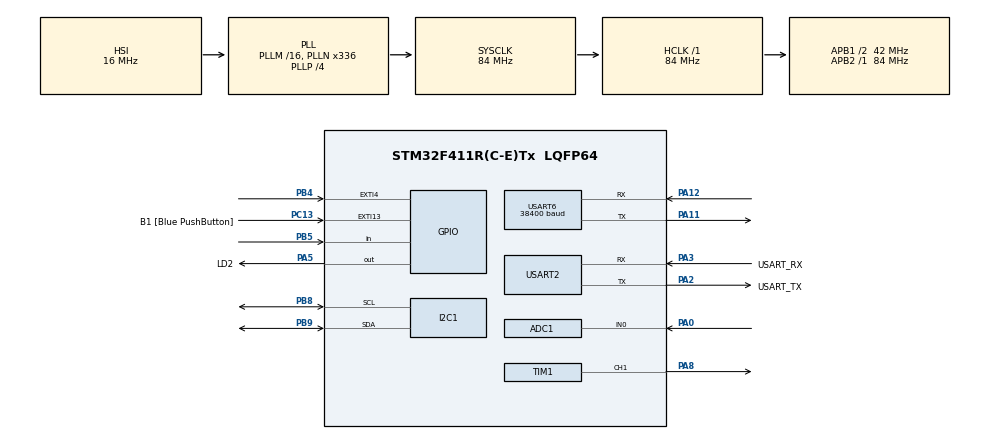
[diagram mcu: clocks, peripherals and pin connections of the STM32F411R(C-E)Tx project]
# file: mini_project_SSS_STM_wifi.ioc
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ADC1.Channel-0\#ChannelRegularConversion=ADC_CHANNEL_0
ADC1.NbrOfConversionFlag=1
ADC1.Rank-0\#ChannelRegularConversion=1
ADC1.SamplingTime-0\#ChannelRegularConversion=ADC_SAMPLETIME_3CYCLES
ADC1.master=1
Mcu.Family=STM32F4
Mcu.Name=STM32F411R(C-E)Tx
Mcu.Package=LQFP64
NVIC.ADC_IRQn=true\:0\:0\:false\:false\:true\:true\:true\:true
NVIC.EXTI4_IRQn=true\:0\:0\:false\:false\:true\:true\:true\:true
NVIC.PriorityGroup=NVIC_PRIORITYGROUP_0
NVIC.TIM2_IRQn=true\:0\:0\:false\:false\:true\:true\:true\:true
NVIC.TIM3_IRQn=true\:0\:0\:false\:false\:true\:true\:true\:true
NVIC.USART2_IRQn=true\:0\:0\:false\:false\:true\:true\:true\:true
NVIC.USART6_IRQn=true\:0\:0\:false\:false\:true\:true\:true\:true
PA0-WKUP.Signal=ADCx_IN0
PA11.Mode=Asynchronous
PA11.Signal=USART6_TX
PA12.Mode=Asynchronous
PA12.Signal=USART6_RX
PA13.GPIO_Label=TMS
PA13.Mode=Serial_Wire
PA13.Signal=SYS_JTMS-SWDIO
PA14.GPIO_Label=TCK
PA14.Mode=Serial_Wire
PA14.Signal=SYS_JTCK-SWCLK
PA2.GPIO_Label=USART_TX
PA2.Mode=Asynchronous
PA2.Signal=USART2_TX
PA3.GPIO_Label=USART_RX
PA3.Mode=Asynchronous
PA3.Signal=USART2_RX
PA5.GPIO_Label=LD2
PA5.Signal=GPIO_Output
PA8.Signal=S_TIM1_CH1
PB3.GPIO_Label=SWO
PB3.Signal=SYS_JTDO-SWO
PB4.GPIO_ModeDefaultEXTI=GPIO_MODE_IT_FALLING
PB4.GPIO_PuPd=GPIO_PULLUP
PB4.Signal=GPXTI4
PB5.GPIO_PuPd=GPIO_PULLUP
PB5.Signal=GPIO_Input
PB8.Mode=I2C
PB8.Signal=I2C1_SCL
PB9.Mode=I2C
PB9.Signal=I2C1_SDA
PC13-ANTI_TAMP.GPIO_Label=B1 [Blue PushButton]
PC13-ANTI_TAMP.GPIO_ModeDefaultEXTI=GPIO_MODE_IT_FALLING
PC13-ANTI_TAMP.Signal=GPXTI13
PC14-OSC32_IN.Mode=LSE-External-Oscillator
PC14-OSC32_IN.Signal=RCC_OSC32_IN
PC15-OSC32_OUT.Mode=LSE-External-Oscillator
PC15-OSC32_OUT.Signal=RCC_OSC32_OUT
PH0\ -\ OSC_IN.Mode=HSE-External-Clock-Source
PH0\ -\ OSC_IN.Signal=RCC_OSC_IN
PH1\ -\ OSC_OUT.Mode=HSE-External-Clock-Source
PH1\ -\ OSC_OUT.Signal=RCC_OSC_OUT
ProjectManager.HeapSize=0x200
ProjectManager.StackSize=0x400
ProjectManager.TargetToolchain=STM32CubeIDE
RCC.48MHZClocksFreq_Value=84000000
RCC.AHBFreq_Value=84000000
RCC.APB1CLKDivider=RCC_HCLK_DIV2
RCC.APB1Freq_Value=42000000
RCC.APB1TimFreq_Value=84000000
RCC.APB2Freq_Value=84000000
RCC.APB2TimFreq_Value=84000000
RCC.CortexFreq_Value=84000000
RCC.FLatency-AdvancedSettings=FLASH_LATENCY_2
RCC.HCLKFreq_Value=84000000
RCC.HSE_VALUE=8000000
RCC.HSI_VALUE=16000000
RCC.PLLN=336
RCC.PLLP=RCC_PLLP_DIV4
RCC.SYSCLKFreq_VALUE=84000000
RCC.SYSCLKSource=RCC_SYSCLKSOURCE_PLLCLK
RCC.VCOOutputFreq_Value=336000000
SH.ADCx_IN0.0=ADC1_IN0,IN0
SH.S_TIM1_CH1.0=TIM1_CH1,PWM Generation1 CH1
TIM1.Channel-PWM\ Generation1\ CH1=TIM_CHANNEL_1
TIM1.Period=19999
TIM1.Prescaler=83
TIM2.Period=99
TIM2.Prescaler=8399
TIM3.Period=999
TIM3.Prescaler=83
USART2.VirtualMode=VM_ASYNC
USART6.BaudRate=38400
USART6.VirtualMode=VM_ASYNC
VP_TIM1_VS_ClockSourceINT.Mode=Internal
VP_TIM2_VS_ClockSourceINT.Mode=Internal
VP_TIM3_VS_ClockSourceINT.Mode=Internal
board=NUCLEO-F411RE

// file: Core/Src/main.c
/* USER CODE BEGIN Header */
/**
  ******************************************************************************
  * @file           : main.c
  * @brief          : Main program body
  ******************************************************************************
  * @attention
  *
  * Copyright (c) 2025 STMicroelectronics.
  * All rights reserved.
  *
  * This software is licensed under terms that can be found in the LICENSE file
  * in the root directory of this software component.
  * If no LICENSE file comes with this software, it is provided AS-IS.
  *
  ******************************************************************************
  */
/* USER CODE END Header */
#include "main.h"

/* USER CODE BEGIN Includes */
#include <stdio.h>
#include <string.h>
#include "esp.h"
#include "my_lcd_i2c.h"
/* USER CODE END Includes */

/* USER CODE BEGIN PD */
#define PASSWORD_LEN 4

// LCD SCL, SDA GPIO 설정
#define TACT_Pin1 GPIO_PIN_4
#define TACT_GPIO_Port1 GPIOB
#define Ball_SW_PIN GPIO_PIN_5
#define Ball_SW_PORT GPIOB

#ifdef __GNUC__
/* With GCC, small printf (option LD Linker->Libraries->Small printf
   set to 'Yes') calls __io_putchar() */
#define PUTCHAR_PROTOTYPE int __io_putchar(int ch)
#else
#define PUTCHAR_PROTOTYPE int fputc(int ch, FILE *f)
#endif /* __GNUC__ */
#define ARR_CNT 5
#define CMD_SIZE 50

#define SQL_TOPIC "SSS_SQL"
#define SAFE_ID   "02"    		 	// 금고 고유 ID
#define TAG_LOGIN "LOGIN"
#define TAG_CHPSW "CHPSWD"        	// 비밀번호 변경
#define TAG_BSWLOCK "SENDLOG"

/* USER CODE END PD */

ADC_HandleTypeDef hadc1;

I2C_HandleTypeDef hi2c1;

TIM_HandleTypeDef htim1;
TIM_HandleTypeDef htim2;
TIM_HandleTypeDef htim3;

UART_HandleTypeDef huart2;
UART_HandleTypeDef huart6;

/* USER CODE BEGIN PV */
//int password[PASSWORD_LEN] = { 0, 0, 0, 0 };
int insert_num[PASSWORD_LEN] = { -1, -1, -1, -1 };

uint32_t last_ball_tick = 0;

volatile uint16_t adc_val;
volatile int      adc_flag = 0;

int flag_locked = 1;		// 금고 잠금 상태 플래그

#define LONG_PRESS_MS 1500   // 원하는 임계값

volatile uint8_t  waiting_release = 0;  // 눌림 이후 릴리즈 대기
volatile uint32_t press_tick = 0;       // 눌린 시각(ms)
volatile uint8_t  short_press_flag = 0; // 짧게 눌림 이벤트
volatile uint8_t  long_press_flag  = 0; // 길게 눌림 이벤트

uint8_t rx2char;
extern cb_data_t cb_data;
extern volatile unsigned char rx2Flag;
extern volatile char rx2Data[50];
volatile int tim3Flag1Sec=1;
volatile unsigned int tim3Sec;

static uint32_t last_adc_tick = 0;
typedef enum { ADC_IDLE, ADC_BUSY } adc_state_t;
static adc_state_t adc_state = ADC_IDLE;

// 버튼 디바운스 처리를 위한 마지막 입력 시간 저장 변수
// 200ms 이내의 중복 입력을 무시하기 위해 사용됨
uint32_t last_press_time_tact1 = 0;

/* USER CODE END PV */

void SystemClock_Config(void);
static void MX_GPIO_Init(void);
static void MX_ADC1_Init(void);
static void MX_I2C1_Init(void);
static void MX_TIM1_Init(void);
static void MX_TIM2_Init(void);
static void MX_TIM3_Init(void);
static void MX_USART2_UART_Init(void);
static void MX_USART6_UART_Init(void);
/* USER CODE BEGIN PFP */
static void send_login_to_server(void);
static void send_chpsw_to_server(const int old_pw[4], const int new_pw[4]);
static void code4_to_str(const int d[4], char out[8]);

char strBuff[MAX_ESP_COMMAND_LEN];
void MX_GPIO_LED_ON(int flag);
void MX_GPIO_LED_OFF(int flag);
void esp_event(char *);
char sendBuf[MAX_UART_COMMAND_LEN]={0};
/* USER CODE END PFP */

/* USER CODE BEGIN 0 */
int CCR = 1500;		// PWM을 통해 서보모터를 제어 할때 모터의 중앙값에 해당하는 값

static void send_ball_event_to_server(void)
{
    if (esp_get_status() != 0) {
        esp_client_conn(); // 연결 안되어 있으면 재연결 시도
        return;
    }

    char msg[64];
    snprintf(msg, sizeof(msg), "[%s]%s@%s\n", SQL_TOPIC, TAG_BSWLOCK, SAFE_ID);
    esp_send_data(msg);
    printf("Ball event sent!\r\n");
}

// 원하는 태그: "PWD_OK", "PWD_NG", "HOLD" 등
/* USER CODE END 0 */

int main(void)
{

  /* USER CODE BEGIN 1 */
	int ret = 0;
  /* USER CODE END 1 */

  /* MCU Configuration--------------------------------------------------------*/

  /* Reset of all peripherals, Initializes the Flash interface and the Systick. */
  HAL_Init();

  /* Configure the system clock */
  SystemClock_Config();

  /* Initialize all configured peripherals */
  MX_GPIO_Init();
  MX_ADC1_Init();
  MX_I2C1_Init();
  MX_TIM1_Init();
  MX_TIM2_Init();
  MX_TIM3_Init();
  MX_USART2_UART_Init();
  MX_USART6_UART_Init();
  /* USER CODE BEGIN 2 */
  printf("Start main() - wifi\r\n");
  ret |= drv_uart_init();
  ret |= drv_esp_init();
  if(ret != 0)
  {
   printf("Esp response error\r\n");
   Error_Handler();

  }

  AiotClient_Init();
  printf("321321\r\n");
  if(HAL_TIM_Base_Start_IT(&htim3) != HAL_OK)
  {
   Error_Handler();
  }
  printf("321321\r\n");
  HAL_TIM_PWM_Start(&htim1, TIM_CHANNEL_1);		// PWM 시작

  HAL_TIM_Base_Start(&htim2);					// 타이머 시작
  printf("Start_timer\r\n");
  lcd_init(&hi2c1);							// LCD 초기화
  lcd_set_cursor(0, 3);						// LCD 첫줄 세번 째 칸으로 이동
  lcd_send_string("DIAL LOCK");			    // 문자 출력
  lcd_set_cursor(1, 6);						// LCD 두번째줄 네번 째 칸으로 이동
  lcd_send_string("SAFE");	   		        // 문자 출력
  HAL_Delay(3000);
  lcd_clear();
  printf("initLCD complit\r\n");
  __HAL_TIM_SET_COMPARE(&htim1, TIM_CHANNEL_1, 1500);  // 모터 중앙값

  lcd_set_cursor(0, 3);					// LCD 첫줄 세번 째 칸으로 이동
  lcd_send_string("ENTER CODE");			// 문자 출력

  print_nums();

  //HAL_ADC_Start_IT(&hadc1);
  printf("ADC_Start\r\n");
  printf("start while\r\n");
  /* USER CODE END 2 */

  /* Infinite loop */
  /* USER CODE BEGIN WHILE */
  while (1)
  {

	  int ball_state = HAL_GPIO_ReadPin(Ball_SW_PORT, Ball_SW_PIN);

	      if (ball_state == GPIO_PIN_RESET) {   // 볼 스위치 감지됨
	          uint32_t now = HAL_GetTick();
	          if (now - last_ball_tick >= 3000) {   // 3초 디바운스
	              last_ball_tick = now;
	              send_ball_event_to_server();      // 서버에 데이터 전송
	          }
	      }

	  uint32_t now = HAL_GetTick();

	  lcd_set_cursor(1, 1);				// LCD 두 번째 줄 두 번째 칸으로 이동
	  lcd_send_string("->");			    // 문자 출력

	      // 300ms 주기
	  	  if (adc_state == ADC_IDLE && (now - last_adc_tick) >= 300) {
	          last_adc_tick = now;
	          HAL_ADC_Start(&hadc1);
	          adc_state = ADC_BUSY;
	      }

	      if (adc_state == ADC_BUSY) {
	          // 블로킹 없이 완료 여부만 체크
	          if (HAL_ADC_PollForConversion(&hadc1, 0) == HAL_OK) {
	              uint16_t val = HAL_ADC_GetValue(&hadc1);

	              int digit;
	              if (val < 200)      digit = 0;
	              else if (val < 500) digit = 1;
	              else if (val < 1000) digit = 2;
	              else if (val < 1500) digit = 3;
	              else if (val < 2000) digit = 4;
	              else if (val < 2500) digit = 5;
	              else if (val < 3000) digit = 6;
	              else if (val < 3500) digit = 7;
	              else if (val < 4000) digit = 8;
	              else                 digit = 9;

	              adc_val = digit;
	              // LCD 출력 (이전 글자 잔상 방지용으로 2글자 덮어쓰기)
	              char buffer[5];
	              lcd_set_cursor(1, 4);
//	              char buf[3] = { '0' + digit, ' ', '\0' };
	              sprintf(buffer, "%d", adc_val);
	              lcd_send_string(buffer);

	              adc_state = ADC_IDLE;       // 다음 주기 대기
	          }
	          // ★ 버튼 눌림 확정 처리: 방금까지 갱신된 adc_val로 입력 확정
//	              if (adc_flag) {
//	                  adc_flag = 0;
//	                  handle_tact1();
//	              }
	          // 아직 완료 안 됐으면 그냥 빠져나가서 Wi-Fi 루프 계속
	      }

	      // 릴리즈 폴링: 눌림 이후 손 뗐는지 확인
	      if (waiting_release) {
	          // 손을 뗐으면 (핀 HIGH)
	          if (HAL_GPIO_ReadPin(TACT_GPIO_Port1, TACT_Pin1) == GPIO_PIN_SET) {
	              waiting_release = 0;
	              uint32_t held = HAL_GetTick() - press_tick;

	              if (held >= LONG_PRESS_MS) long_press_flag = 1;
	              else                       short_press_flag = 1;
	          }
	      }

	      // 플래그 소비(실제 동작 수행)
	      if (long_press_flag) {
	          long_press_flag = 0;
	          // TODO: 길게 누름 동작 (예: reset_nums() 또는 강제 잠금/해제 등)
	      }

	      if (short_press_flag) {
	          short_press_flag = 0;
	          // 짧게 누름: 기존 버튼 한 번 누름과 동일 처리
	          handle_tact1();   // insert_num[i] = adc_val; 등
	      }

	    if(strstr((char *)cb_data.buf,"+IPD") && cb_data.buf[cb_data.length-1] == '\n')
		{
			//?��?��?���??  \r\n+IPD,15:[KSH_LIN]HELLO\n
			strcpy(strBuff,strchr((char *)cb_data.buf,'['));

			//printf("Recv from server: %s\r\n", strBuff);
			memset(cb_data.buf,0x0,sizeof(cb_data.buf));
			cb_data.length = 0;
			esp_event(strBuff);
		}
		if(rx2Flag)
		{
			printf("recv2 : %s\r\n",rx2Data);
			rx2Flag =0;
		}

		if(tim3Flag1Sec)	//1초에 한번
		{
			tim3Flag1Sec = 0;
			if(!(tim3Sec%10)) //10초에 한번
			{
				if(esp_get_status() != 0)
				{
					printf("server connecting ...\r\n");
					esp_client_conn();
				}
			}
//			printf("tim3Sec : %d\r\n",tim3Sec);
//			sprintf(sendBuf,"[%s]%s@%s\n","0","TESTCMD","TESTARG");
//			esp_send_data(sendBuf);

		}
    /* USER CODE END WHILE */

  }
}

void SystemClock_Config(void)
{
  RCC_OscInitTypeDef RCC_OscInitStruct = {0};
  RCC_ClkInitTypeDef RCC_ClkInitStruct = {0};

  /** Configure the main internal regulator output voltage
  */
  __HAL_RCC_PWR_CLK_ENABLE();
  __HAL_PWR_VOLTAGESCALING_CONFIG(PWR_REGULATOR_VOLTAGE_SCALE1);

  /** Initializes the RCC Oscillators according to the specified parameters
  * in the RCC_OscInitTypeDef structure.
  */
  RCC_OscInitStruct.OscillatorType = RCC_OSCILLATORTYPE_HSI;
  RCC_OscInitStruct.HSIState = RCC_HSI_ON;
  RCC_OscInitStruct.HSICalibrationValue = RCC_HSICALIBRATION_DEFAULT;
  RCC_OscInitStruct.PLL.PLLState = RCC_PLL_ON;
  RCC_OscInitStruct.PLL.PLLSource = RCC_PLLSOURCE_HSI;
  RCC_OscInitStruct.PLL.PLLM = 16;
  RCC_OscInitStruct.PLL.PLLN = 336;
  RCC_OscInitStruct.PLL.PLLP = RCC_PLLP_DIV4;
  RCC_OscInitStruct.PLL.PLLQ = 4;
  if (HAL_RCC_OscConfig(&RCC_OscInitStruct) != HAL_OK)
  {
    Error_Handler();
  }

  /** Initializes the CPU, AHB and APB buses clocks
  */
  RCC_ClkInitStruct.ClockType = RCC_CLOCKTYPE_HCLK|RCC_CLOCKTYPE_SYSCLK
                              |RCC_CLOCKTYPE_PCLK1|RCC_CLOCKTYPE_PCLK2;
  RCC_ClkInitStruct.SYSCLKSource = RCC_SYSCLKSOURCE_PLLCLK;
  RCC_ClkInitStruct.AHBCLKDivider = RCC_SYSCLK_DIV1;
  RCC_ClkInitStruct.APB1CLKDivider = RCC_HCLK_DIV2;
  RCC_ClkInitStruct.APB2CLKDivider = RCC_HCLK_DIV1;

  if (HAL_RCC_ClockConfig(&RCC_ClkInitStruct, FLASH_LATENCY_2) != HAL_OK)
  {
    Error_Handler();
  }
}

static void MX_ADC1_Init(void)
{

  ADC_ChannelConfTypeDef sConfig = {0};

  /** Configure the global features of the ADC (Clock, Resolution, Data Alignment and number of conversion)
  */
  hadc1.Instance = ADC1;
  hadc1.Init.ClockPrescaler = ADC_CLOCK_SYNC_PCLK_DIV4;
  hadc1.Init.Resolution = ADC_RESOLUTION_12B;
  hadc1.Init.ScanConvMode = DISABLE;
  hadc1.Init.ContinuousConvMode = DISABLE;
  hadc1.Init.DiscontinuousConvMode = DISABLE;
  hadc1.Init.ExternalTrigConvEdge = ADC_EXTERNALTRIGCONVEDGE_NONE;
  hadc1.Init.ExternalTrigConv = ADC_SOFTWARE_START;
  hadc1.Init.DataAlign = ADC_DATAALIGN_RIGHT;
  hadc1.Init.NbrOfConversion = 1;
  hadc1.Init.DMAContinuousRequests = DISABLE;
  hadc1.Init.EOCSelection = ADC_EOC_SINGLE_CONV;
  if (HAL_ADC_Init(&hadc1) != HAL_OK)
  {
    Error_Handler();
  }

  /** Configure for the selected ADC regular channel its corresponding rank in the sequencer and its sample time.
  */
  sConfig.Channel = ADC_CHANNEL_0;
  sConfig.Rank = 1;
  sConfig.SamplingTime = ADC_SAMPLETIME_3CYCLES;
  if (HAL_ADC_ConfigChannel(&hadc1, &sConfig) != HAL_OK)
  {
    Error_Handler();
  }

}

static void MX_I2C1_Init(void)
{

  hi2c1.Instance = I2C1;
  hi2c1.Init.ClockSpeed = 100000;
  hi2c1.Init.DutyCycle = I2C_DUTYCYCLE_2;
  hi2c1.Init.OwnAddress1 = 0;
  hi2c1.Init.AddressingMode = I2C_ADDRESSINGMODE_7BIT;
  hi2c1.Init.DualAddressMode = I2C_DUALADDRESS_DISABLE;
  hi2c1.Init.OwnAddress2 = 0;
  hi2c1.Init.GeneralCallMode = I2C_GENERALCALL_DISABLE;
  hi2c1.Init.NoStretchMode = I2C_NOSTRETCH_DISABLE;
  if (HAL_I2C_Init(&hi2c1) != HAL_OK)
  {
    Error_Handler();
  }

}

static void MX_TIM1_Init(void)
{

  TIM_ClockConfigTypeDef sClockSourceConfig = {0};
  TIM_MasterConfigTypeDef sMasterConfig = {0};
  TIM_OC_InitTypeDef sConfigOC = {0};
  TIM_BreakDeadTimeConfigTypeDef sBreakDeadTimeConfig = {0};

  htim1.Instance = TIM1;
  htim1.Init.Prescaler = 83;
  htim1.Init.CounterMode = TIM_COUNTERMODE_UP;
  htim1.Init.Period = 19999;
  htim1.Init.ClockDivision = TIM_CLOCKDIVISION_DIV1;
  htim1.Init.RepetitionCounter = 0;
  htim1.Init.AutoReloadPreload = TIM_AUTORELOAD_PRELOAD_DISABLE;
  if (HAL_TIM_Base_Init(&htim1) != HAL_OK)
  {
    Error_Handler();
  }
  sClockSourceConfig.ClockSource = TIM_CLOCKSOURCE_INTERNAL;
  if (HAL_TIM_ConfigClockSource(&htim1, &sClockSourceConfig) != HAL_OK)
  {
    Error_Handler();
  }
  if (HAL_TIM_PWM_Init(&htim1) != HAL_OK)
  {
    Error_Handler();
  }
  sMasterConfig.MasterOutputTrigger = TIM_TRGO_RESET;
  sMasterConfig.MasterSlaveMode = TIM_MASTERSLAVEMODE_DISABLE;
  if (HAL_TIMEx_MasterConfigSynchronization(&htim1, &sMasterConfig) != HAL_OK)
  {
    Error_Handler();
  }
  sConfigOC.OCMode = TIM_OCMODE_PWM1;
  sConfigOC.Pulse = 0;
  sConfigOC.OCPolarity = TIM_OCPOLARITY_HIGH;
  sConfigOC.OCNPolarity = TIM_OCNPOLARITY_HIGH;
  sConfigOC.OCFastMode = TIM_OCFAST_DISABLE;
  sConfigOC.OCIdleState = TIM_OCIDLESTATE_RESET;
  sConfigOC.OCNIdleState = TIM_OCNIDLESTATE_RESET;
  if (HAL_TIM_PWM_ConfigChannel(&htim1, &sConfigOC, TIM_CHANNEL_1) != HAL_OK)
  {
    Error_Handler();
  }
  sBreakDeadTimeConfig.OffStateRunMode = TIM_OSSR_DISABLE;
  sBreakDeadTimeConfig.OffStateIDLEMode = TIM_OSSI_DISABLE;
  sBreakDeadTimeConfig.LockLevel = TIM_LOCKLEVEL_OFF;
  sBreakDeadTimeConfig.DeadTime = 0;
  sBreakDeadTimeConfig.BreakState = TIM_BREAK_DISABLE;
  sBreakDeadTimeConfig.BreakPolarity = TIM_BREAKPOLARITY_HIGH;
  sBreakDeadTimeConfig.AutomaticOutput = TIM_AUTOMATICOUTPUT_DISABLE;
  if (HAL_TIMEx_ConfigBreakDeadTime(&htim1, &sBreakDeadTimeConfig) != HAL_OK)
  {
    Error_Handler();
  }
  HAL_TIM_MspPostInit(&htim1);

}

static void MX_TIM2_Init(void)
{

  TIM_ClockConfigTypeDef sClockSourceConfig = {0};
  TIM_MasterConfigTypeDef sMasterConfig = {0};

  htim2.Instance = TIM2;
  htim2.Init.Prescaler = 8399;
  htim2.Init.CounterMode = TIM_COUNTERMODE_UP;
  htim2.Init.Period = 99;
  htim2.Init.ClockDivision = TIM_CLOCKDIVISION_DIV1;
  htim2.Init.AutoReloadPreload = TIM_AUTORELOAD_PRELOAD_DISABLE;
  if (HAL_TIM_Base_Init(&htim2) != HAL_OK)
  {
    Error_Handler();
  }
  sClockSourceConfig.ClockSource = TIM_CLOCKSOURCE_INTERNAL;
  if (HAL_TIM_ConfigClockSource(&htim2, &sClockSourceConfig) != HAL_OK)
  {
    Error_Handler();
  }
  sMasterConfig.MasterOutputTrigger = TIM_TRGO_RESET;
  sMasterConfig.MasterSlaveMode = TIM_MASTERSLAVEMODE_DISABLE;
  if (HAL_TIMEx_MasterConfigSynchronization(&htim2, &sMasterConfig) != HAL_OK)
  {
    Error_Handler();
  }

}

static void MX_TIM3_Init(void)
{

  TIM_ClockConfigTypeDef sClockSourceConfig = {0};
  TIM_MasterConfigTypeDef sMasterConfig = {0};

  htim3.Instance = TIM3;
  htim3.Init.Prescaler = 83;
  htim3.Init.CounterMode = TIM_COUNTERMODE_UP;
  htim3.Init.Period = 999;
  htim3.Init.ClockDivision = TIM_CLOCKDIVISION_DIV1;
  htim3.Init.AutoReloadPreload = TIM_AUTORELOAD_PRELOAD_DISABLE;
  if (HAL_TIM_Base_Init(&htim3) != HAL_OK)
  {
    Error_Handler();
  }
  sClockSourceConfig.ClockSource = TIM_CLOCKSOURCE_INTERNAL;
  if (HAL_TIM_ConfigClockSource(&htim3, &sClockSourceConfig) != HAL_OK)
  {
    Error_Handler();
  }
  sMasterConfig.MasterOutputTrigger = TIM_TRGO_RESET;
  sMasterConfig.MasterSlaveMode = TIM_MASTERSLAVEMODE_DISABLE;
  if (HAL_TIMEx_MasterConfigSynchronization(&htim3, &sMasterConfig) != HAL_OK)
  {
    Error_Handler();
  }

}

static void MX_USART2_UART_Init(void)
{

  huart2.Instance = USART2;
  huart2.Init.BaudRate = 115200;
  huart2.Init.WordLength = UART_WORDLENGTH_8B;
  huart2.Init.StopBits = UART_STOPBITS_1;
  huart2.Init.Parity = UART_PARITY_NONE;
  huart2.Init.Mode = UART_MODE_TX_RX;
  huart2.Init.HwFlowCtl = UART_HWCONTROL_NONE;
  huart2.Init.OverSampling = UART_OVERSAMPLING_16;
  if (HAL_UART_Init(&huart2) != HAL_OK)
  {
    Error_Handler();
  }

}

static void MX_USART6_UART_Init(void)
{

  huart6.Instance = USART6;
  huart6.Init.BaudRate = 38400;
  huart6.Init.WordLength = UART_WORDLENGTH_8B;
  huart6.Init.StopBits = UART_STOPBITS_1;
  huart6.Init.Parity = UART_PARITY_NONE;
  huart6.Init.Mode = UART_MODE_TX_RX;
  huart6.Init.HwFlowCtl = UART_HWCONTROL_NONE;
  huart6.Init.OverSampling = UART_OVERSAMPLING_16;
  if (HAL_UART_Init(&huart6) != HAL_OK)
  {
    Error_Handler();
  }

}

static void MX_GPIO_Init(void)
{
  GPIO_InitTypeDef GPIO_InitStruct = {0};

  /* GPIO Ports Clock Enable */
  __HAL_RCC_GPIOC_CLK_ENABLE();
  __HAL_RCC_GPIOH_CLK_ENABLE();
  __HAL_RCC_GPIOA_CLK_ENABLE();
  __HAL_RCC_GPIOB_CLK_ENABLE();

  /*Configure GPIO pin Output Level */
  HAL_GPIO_WritePin(LD2_GPIO_Port, LD2_Pin, GPIO_PIN_RESET);

  /*Configure GPIO pin : B1_Pin */
  GPIO_InitStruct.Pin = B1_Pin;
  GPIO_InitStruct.Mode = GPIO_MODE_IT_FALLING;
  GPIO_InitStruct.Pull = GPIO_NOPULL;
  HAL_GPIO_Init(B1_GPIO_Port, &GPIO_InitStruct);

  /*Configure GPIO pin : LD2_Pin */
  GPIO_InitStruct.Pin = LD2_Pin;
  GPIO_InitStruct.Mode = GPIO_MODE_OUTPUT_PP;
  GPIO_InitStruct.Pull = GPIO_NOPULL;
  GPIO_InitStruct.Speed = GPIO_SPEED_FREQ_LOW;
  HAL_GPIO_Init(LD2_GPIO_Port, &GPIO_InitStruct);

  /*Configure GPIO pin : PB4 */
  GPIO_InitStruct.Pin = GPIO_PIN_4;
  GPIO_InitStruct.Mode = GPIO_MODE_IT_FALLING;
  GPIO_InitStruct.Pull = GPIO_PULLUP;
  HAL_GPIO_Init(GPIOB, &GPIO_InitStruct);

  /*Configure GPIO pin : PB5 */
  GPIO_InitStruct.Pin = GPIO_PIN_5;
  GPIO_InitStruct.Mode = GPIO_MODE_INPUT;
  GPIO_InitStruct.Pull = GPIO_PULLUP;
  HAL_GPIO_Init(GPIOB, &GPIO_InitStruct);

  /* EXTI interrupt init*/
  HAL_NVIC_SetPriority(EXTI4_IRQn, 0, 0);
  HAL_NVIC_EnableIRQ(EXTI4_IRQn);

}

/* USER CODE BEGIN 4 */
void MX_GPIO_LED_ON(int pin)
{
	HAL_GPIO_WritePin(LD2_GPIO_Port, pin, GPIO_PIN_SET);
}
void MX_GPIO_LED_OFF(int pin)
{
	HAL_GPIO_WritePin(LD2_GPIO_Port, pin, GPIO_PIN_RESET);
}

void esp_event(char * recvBuf)
{
  int i=0;
  char * pToken;
  char * pArray[ARR_CNT]={0};

  strBuff[strlen(recvBuf)-1] = '\0';	//'\n' cut
  printf("\r\nDebug recv : %s\r\n",recvBuf);

  //여기서 문자열 단순 비교
  if (strstr(recvBuf, "SUCCESS")) {

	  // 서보모터 90도 회전
	  CCR = 2500;
	  __HAL_TIM_SET_COMPARE(&htim1, TIM_CHANNEL_1, CCR);// PWM  세팅

	  flag_locked = 0;

	  lcd_set_cursor(0, 0);
	  lcd_send_string("                ");
      lcd_set_cursor(0, 4);
      lcd_send_string("SUCCESS!");   // 비밀번호 맞음

  }
  else if (strstr(recvBuf, "FAILURE")) {
	  lcd_set_cursor(0, 0);
	  lcd_send_string("                ");
      lcd_set_cursor(0, 5);
      lcd_send_string("FAILED");    // 비밀번호 틀림
  }

  pToken = strtok(recvBuf,"[@]");
  while(pToken != NULL)
  {
    pArray[i] = pToken;
    if(++i >= ARR_CNT)
      break;
    pToken = strtok(NULL,"[@]");
  }

  if(!strcmp(pArray[1],"LED"))
  {
  	if(!strcmp(pArray[2],"ON"))
  	{
  		MX_GPIO_LED_ON(LD2_Pin);
  	}
	else if(!strcmp(pArray[2],"OFF"))
	{
		MX_GPIO_LED_OFF(LD2_Pin);
	}
	sprintf(sendBuf,"[%s]%s@%s\n",pArray[0],pArray[1],pArray[2]);
  }
  else if(!strncmp(pArray[1]," New conn",8))
  {
//	   printf("Debug : %s, %s\r\n",pArray[0],pArray[1]);
     return;
  }
  else if(!strncmp(pArray[1]," Already log",8))
  {
// 	    printf("Debug : %s, %s\r\n",pArray[0],pArray[1]);
	  esp_client_conn();
      return;
  }
  else
      return;

  esp_send_data(sendBuf);
  printf("Debug send : %s\r\n",sendBuf);
}
void HAL_TIM_PeriodElapsedCallback(TIM_HandleTypeDef *htim)		//1ms 마다 호출
{
	static int tim3Cnt = 0;
	tim3Cnt++;
	if(tim3Cnt >= 1000) //1ms * 1000 = 1Sec
	{
		tim3Flag1Sec = 1;
		tim3Sec++;
		tim3Cnt = 0;
	}
}
void HAL_GPIO_EXTI_Callback(uint16_t GPIO_Pin)
{
    if (GPIO_Pin != TACT_Pin1) return;

    uint32_t now = HAL_GetTick();
    if (now - last_press_time_tact1 < 200) return; // 디바운스
    last_press_time_tact1 = now;

    // 풀업/Active-Low 가정: 눌림 시 LOW
    if (HAL_GPIO_ReadPin(TACT_GPIO_Port1, TACT_Pin1) == GPIO_PIN_RESET) {
        press_tick = now;           // 눌린 순간 시각 저장
        waiting_release = 1;        // 릴리즈 대기 시작
        // ※ 여기서 handle_tact1() 호출하지 마세요 (LCD/I2C는 메인에서)
    }
}

//void HAL_ADC_ConvCpltCallback(ADC_HandleTypeDef* hadc)
//{

//	adc_flag = 1;

//	lcd_set_cursor(1, 1);				// LCD 두 번째 줄 두 번째 칸으로 이동
//	lcd_send_string("->");			    // 문자 출력
//
//	if (hadc->Instance == ADC1)
//	{
//		// ADC 변환 결과를 0~9로 매핑하여 입력 숫자로 설정
//		if (HAL_ADC_GetValue(&hadc1) < 200) 		adc_val = 0;
//		else if (HAL_ADC_GetValue(&hadc1) < 500)	adc_val = 1;
//		else if (HAL_ADC_GetValue(&hadc1) < 1000)	adc_val = 2;
//		else if (HAL_ADC_GetValue(&hadc1) < 1500)	adc_val = 3;
//		else if (HAL_ADC_GetValue(&hadc1) < 2000)	adc_val = 4;
//		else if (HAL_ADC_GetValue(&hadc1) < 2500)	adc_val = 5;
//		else if (HAL_ADC_GetValue(&hadc1) < 3000)	adc_val = 6;
//		else if (HAL_ADC_GetValue(&hadc1) < 3500)	adc_val = 7;
//		else if (HAL_ADC_GetValue(&hadc1) < 4000)	adc_val = 8;
//		else										adc_val = 9;
//
//
//		char buffer[5];
//		lcd_set_cursor(1, 4);
//		sprintf(buffer, "%d", adc_val);
//		lcd_send_string(buffer);
//	}
//	HAL_ADC_Start_IT(&hadc1);
//}

// 4자리 배열(각 원소 0~9 가정)을 "1234" 문자열로 변환
static void code4_to_str(const int d[4], char out[8])
{
    out[0] = '0' + d[0];
    out[1] = '0' + d[1];
    out[2] = '0' + d[2];
    out[3] = '0' + d[3];
    out[4] = '\0';
}

// [SSS_SQL]LOGIN@ID@PSWD\n
static void send_login_to_server(void)
{
    if (esp_get_status() != 0) {
        esp_client_conn();     // 연결 재시도(이번 루프는 그냥 시도만)
        return;
    }

    char code[8];
    code4_to_str(insert_num, code);   // 현재 입력한 4자리

    char msg[80];
    snprintf(msg, sizeof(msg), "[%s]%s@%s@%s\n", SQL_TOPIC, TAG_LOGIN, SAFE_ID, code);
    esp_send_data(msg);
}

// [SSS_SQL]CHPSWD@ID@OLD@NEW\n
static void send_chpsw_to_server(const int old_pw[4], const int new_pw[4])
{
    if (esp_get_status() != 0) {
        esp_client_conn();
        return;
    }

    char oldc[8], newc[8];
    code4_to_str(old_pw, oldc);
    code4_to_str(new_pw, newc);

    char msg[96];
    snprintf(msg, sizeof(msg), "[%s]%s@%s@%s@%s\n", SQL_TOPIC, TAG_CHPSW, SAFE_ID, oldc, newc);
    esp_send_data(msg);
}

void handle_tact1(void)
{
    // 잠금 상태일 때: 숫자 4개 모아서 서버로 전송
    if (flag_locked)
    {
        static int i = 0;

        // 화면 갱신
        if(i == 0){
        lcd_set_cursor(0, 0);
        lcd_send_string("                ");
        lcd_set_cursor(0, 3);
        lcd_send_string("ENTER CODE");
        }

        // 현재 ADC에서 읽은 한 자리 저장
        insert_num[i] = adc_val;
        i++;

        print_nums();

        // 4자리 다 모이면 서버로 전송하고 입력버퍼 초기화
        if (i >= PASSWORD_LEN)
        {
            send_login_to_server();   // [SSS_SQL]LOGIN@ID@PSWD 전송

            // 전송 중/확인 중 안내 (선택)
            lcd_set_cursor(0, 0);
            lcd_send_string("                ");
            lcd_set_cursor(0, 2);
            lcd_send_string("CHECKING....");

            reset_nums();
            i = 0;
        }
    }
    // 잠금 해제 상태일 때: 버튼 누르면 잠금으로 복귀 (기존 동작 유지)
    else
    {
        __HAL_TIM_SET_COMPARE(&htim1, TIM_CHANNEL_1, 1500); // 서보 복귀
        lcd_set_cursor(0, 0);
        lcd_send_string("                ");
        lcd_set_cursor(0, 5);
        lcd_send_string("LOCKED");
        flag_locked = 1;
    }
}

void print_nums()
{
	for (int i = 0; i < 4; i++)
	{
		lcd_set_cursor(1, 7 + (i * 2));
		lcd_send_data('0' + insert_num[i]);
	}
}

void reset_nums()
{
	for (int i = 0; i < PASSWORD_LEN; i++)
		insert_num[i] = -1;
}
/*int password_match(int security)
{
		for (int i = 0; i < PASSWORD_LEN; i++)
		{
			if (password[i] != insert_num[i])
				return  0;
		}
		return 1;
}*/
/* USER CODE END 4 */

void Error_Handler(void)
{
  __disable_irq();
  while (1)
  {
  }
}
